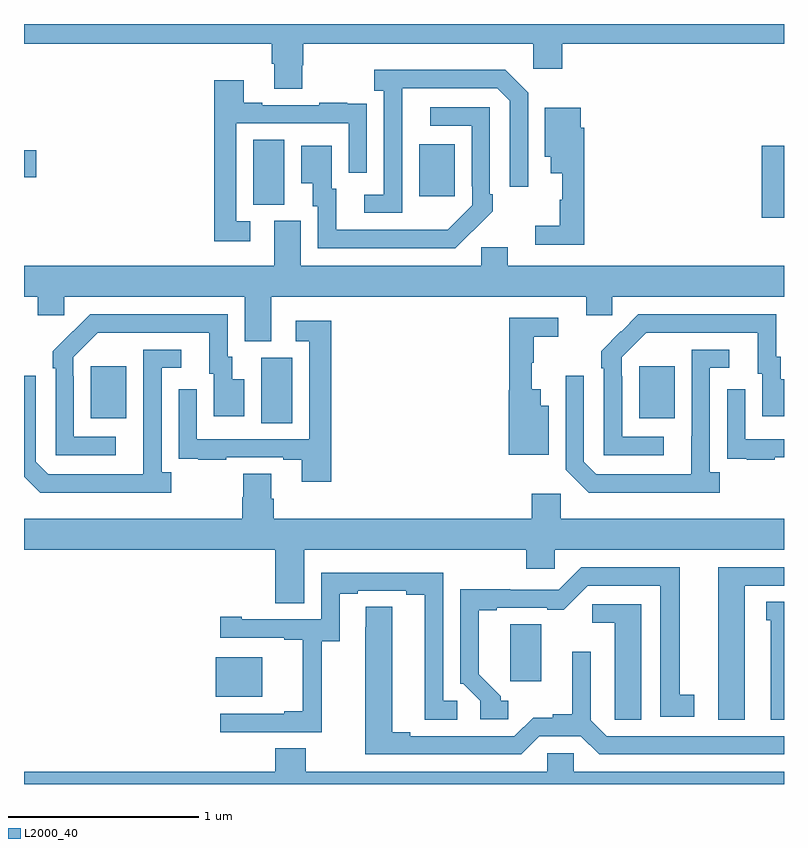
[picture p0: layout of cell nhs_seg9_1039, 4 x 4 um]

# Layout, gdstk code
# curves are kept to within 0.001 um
import gdstk
lib = gdstk.Library(unit=1e-6, precision=1e-09)
def R(c, l, rs):  # rectangles x0, y0, x1, y1
    for r in rs: c.add(gdstk.rectangle(r[:2], r[2:], *l))
def P(c, l, *ps):  # polygons
    for p in ps: c.add(gdstk.Polygon(p, *l))
L2000_40 = (2000, 40)

nhs_seg9_1039 = lib.new_cell('nhs_seg9_1039')
R(nhs_seg9_1039, L2000_40, [(168.008,1216.958,168.253,1217.167), (168.248,1218.4,168.412,1218.744), (167.351,1218.425,167.539,1218.7), (170.237,1218.425,170.425,1218.7), (170.882,1219.479,171,1219.86), (168.206,1219.549,168.37,1219.892), (169.079,1219.593,169.267,1219.867), (167,1219.693,167.065,1219.835)])
P(nhs_seg9_1039, L2000_40, [(168.465,1220.283),(168.47,1220.283),(168.47,1220.396),(169.68,1220.396),(169.68,1220.265),(169.832,1220.265),(169.832,1220.396),(171,1220.396),(171,1220.5),(167,1220.5),(167,1220.396),(168.305,1220.396),(168.305,1220.29),(168.317,1220.29),(168.317,1220.158),(168.465,1220.158)],
  [(168.99,1219.963),(168.991,1220.163),(169.491,1220.163),(169.557,1220.097),(169.557,1219.644),(169.653,1219.644),(169.653,1220.139),(169.532,1220.26),(168.843,1220.26),(168.843,1220.15),(168.894,1220.15),(168.894,1219.602),(168.792,1219.602),(168.792,1219.506),(168.99,1219.506)],
  [(168.19,1219.461),(168.117,1219.461),(168.117,1219.977),(168.708,1219.977),(168.708,1219.716),(168.804,1219.716),(168.804,1219.97),(168.803,1219.97),(168.803,1220.079),(168.701,1220.079),(168.701,1220.086),(168.553,1220.086),(168.553,1220.073),(168.253,1220.073),(168.253,1220.086),(168.157,1220.086),(168.157,1220.203),(168.001,1220.203),(168.001,1219.356),(168.19,1219.356)],
  [(169.361,1219.411),(169.362,1219.41),(169.467,1219.515),(169.467,1219.603),(169.452,1219.603),(169.452,1220.061),(169.137,1220.061),(169.137,1219.965),(169.356,1219.965),(169.356,1219.645),(169.359,1219.645),(169.359,1219.545),(169.231,1219.417),(168.643,1219.416),(168.643,1219.632),(168.619,1219.632),(168.619,1219.858),(168.458,1219.858),(168.458,1219.661),(168.521,1219.661),(168.521,1219.542),(168.546,1219.542),(168.546,1219.32),(169.27,1219.32)],
  [(169.949,1219.955),(169.93,1219.955),(169.93,1220.059),(169.742,1220.059),(169.742,1219.802),(169.772,1219.802),(169.772,1219.715),(169.832,1219.715),(169.832,1219.575),(169.821,1219.575),(169.821,1219.439),(169.692,1219.439),(169.692,1219.338),(169.949,1219.338)],
  [(168.301,1219.064),(169.958,1219.064),(169.958,1218.966),(170.097,1218.966),(170.097,1219.064),(171,1219.064),(171,1219.228),(169.546,1219.228),(169.546,1219.326),(169.407,1219.326),(169.407,1219.228),(168.457,1219.228),(168.457,1219.464),(168.317,1219.464),(168.317,1219.228),(167,1219.228),(167,1219.064),(167.072,1219.064),(167.072,1218.966),(167.211,1218.966),(167.211,1219.064),(168.161,1219.064),(168.161,1218.829),(168.301,1218.829)],
  [(170.368,1218.327),(170.148,1218.327),(170.148,1218.647),(170.145,1218.647),(170.145,1218.747),(170.274,1218.876),(170.861,1218.876),(170.861,1218.66),(170.885,1218.66),(170.885,1218.435),(171,1218.435),(171,1218.631),(170.983,1218.631),(170.983,1218.75),(170.958,1218.75),(170.958,1218.972),(170.234,1218.972),(170.037,1218.777),(170.037,1218.689),(170.052,1218.689),(170.052,1218.231),(170.368,1218.231)],
  [(167.482,1218.327),(167.262,1218.327),(167.262,1218.647),(167.259,1218.647),(167.259,1218.747),(167.388,1218.876),(167.975,1218.876),(167.975,1218.66),(167.999,1218.66),(167.999,1218.435),(168.16,1218.435),(168.16,1218.631),(168.097,1218.631),(168.097,1218.75),(168.072,1218.75),(168.072,1218.972),(167.348,1218.972),(167.151,1218.777),(167.151,1218.689),(167.166,1218.689),(167.166,1218.231),(167.482,1218.231)],
  [(169.762,1218.49),(169.72,1218.49),(169.72,1218.577),(169.673,1218.577),(169.673,1218.717),(169.684,1218.717),(169.684,1218.853),(169.813,1218.853),(169.813,1218.954),(169.555,1218.954),(169.555,1218.573),(169.55,1218.573),(169.55,1218.233),(169.762,1218.233)],
  [(168.617,1218.937),(168.429,1218.937),(168.429,1218.831),(168.501,1218.831),(168.501,1218.315),(167.91,1218.315),(167.91,1218.577),(167.814,1218.577),(167.814,1218.322),(167.815,1218.322),(167.815,1218.213),(167.917,1218.213),(167.917,1218.207),(168.065,1218.207),(168.065,1218.219),(168.365,1218.219),(168.365,1218.207),(168.461,1218.207),(168.461,1218.09),(168.617,1218.09)],
  [(170.662,1218.142),(170.61,1218.142),(170.61,1218.69),(170.713,1218.69),(170.713,1218.786),(170.514,1218.786),(170.513,1218.129),(170.013,1218.129),(169.947,1218.195),(169.947,1218.649),(169.851,1218.649),(169.851,1218.153),(169.972,1218.032),(170.662,1218.032)],
  [(167.776,1218.142),(167.724,1218.142),(167.724,1218.69),(167.827,1218.69),(167.827,1218.786),(167.628,1218.786),(167.627,1218.129),(167.127,1218.129),(167.061,1218.195),(167.061,1218.649),(167,1218.649),(167,1218.118),(167.086,1218.032),(167.776,1218.032)],
  [(170.951,1218.219),(171,1218.219),(171,1218.315),(170.796,1218.315),(170.796,1218.577),(170.7,1218.577),(170.7,1218.322),(170.701,1218.322),(170.701,1218.213),(170.803,1218.213),(170.803,1218.207),(170.951,1218.207)],
  [(169.673,1218.028),(169.673,1217.896),(168.314,1217.896),(168.314,1218.002),(168.301,1218.002),(168.301,1218.134),(168.154,1218.134),(168.154,1218.009),(168.149,1218.009),(168.149,1217.896),(167,1217.896),(167,1217.732),(168.323,1217.732),(168.323,1217.452),(168.475,1217.452),(168.475,1217.732),(169.643,1217.732),(169.643,1217.634),(169.794,1217.634),(169.794,1217.732),(171,1217.732),(171,1217.896),(169.824,1217.896),(169.824,1218.028)],
  [(169.549,1216.938),(169.51,1216.938),(169.51,1216.962),(169.393,1217.078),(169.393,1217.415),(169.489,1217.415),(169.489,1217.427),(169.754,1217.427),(169.754,1217.416),(169.84,1217.416),(169.968,1217.544),(170.348,1217.544),(170.348,1216.854),(170.527,1216.854),(170.527,1216.97),(170.452,1216.97),(170.452,1217.64),(169.932,1217.64),(169.815,1217.523),(169.559,1217.523),(169.559,1217.525),(169.296,1217.525),(169.296,1217.028),(169.311,1217.028),(169.401,1216.938),(169.401,1216.842),(169.549,1216.842)],
  [(170.794,1217.544),(171,1217.544),(171,1217.64),(170.654,1217.64),(170.654,1216.839),(170.794,1216.839)],
  [(168.567,1217.251),(168.661,1217.251),(168.661,1217.502),(168.757,1217.502),(168.757,1217.517),(169.013,1217.517),(169.013,1217.497),(169.109,1217.497),(169.109,1216.837),(169.279,1216.837),(169.279,1216.938),(169.206,1216.938),(169.206,1217.613),(168.564,1217.613),(168.564,1217.367),(168.145,1217.367),(168.145,1217.38),(168.033,1217.38),(168.033,1217.271),(168.371,1217.271),(168.371,1217.259),(168.467,1217.259),(168.467,1216.882),(168.371,1216.882),(168.371,1216.869),(168.033,1216.869),(168.033,1216.773),(168.567,1216.773)],
  [(171,1217.459),(170.906,1217.459),(170.906,1217.361),(170.93,1217.361),(170.93,1216.839),(171,1216.839)],
  [(170.248,1217.445),(169.992,1217.445),(169.992,1217.348),(170.108,1217.348),(170.108,1216.945),(170.109,1216.945),(170.109,1216.837),(170.248,1216.837)],
  [(169.713,1216.752),(169.931,1216.752),(170.027,1216.656),(171,1216.656),(171,1216.752),(170.067,1216.752),(169.983,1216.836),(169.983,1217.197),(169.886,1217.197),(169.886,1216.868),(169.782,1216.868),(169.782,1216.85),(169.679,1216.85),(169.581,1216.752),(169.033,1216.752),(169.033,1216.772),(168.937,1216.772),(168.937,1217.432),(168.798,1217.432),(168.797,1216.656),(169.617,1216.656)],
  [(169.723,1217.184),(169.722,1217.184),(169.722,1217.342),(169.559,1217.342),(169.559,1217.04),(169.723,1217.04)],
  [(171,1216.564),(169.893,1216.564),(169.893,1216.662),(169.755,1216.662),(169.755,1216.564),(168.483,1216.564),(168.483,1216.688),(168.323,1216.688),(168.323,1216.564),(167,1216.564),(167,1216.5),(171,1216.5)])

lib.write_gds('nhs_seg9_1039.gds')
